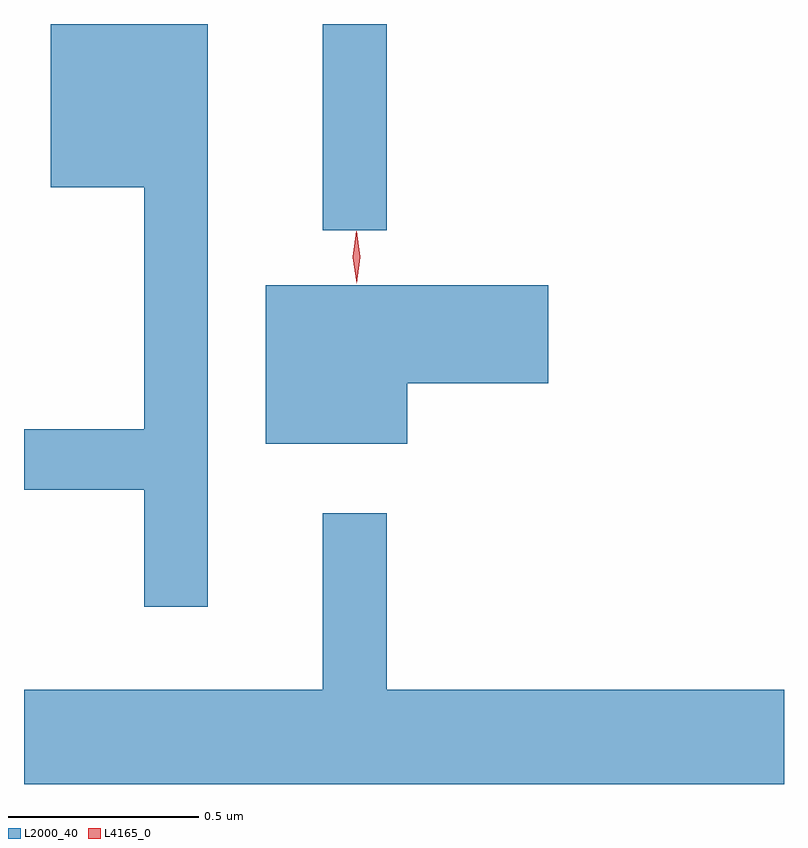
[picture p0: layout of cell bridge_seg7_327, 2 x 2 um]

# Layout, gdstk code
import gdstk
lib = gdstk.Library(unit=1e-6, precision=1e-09)
def R(c, l, rs):  # rectangles x0, y0, x1, y1
    for r in rs: c.add(gdstk.rectangle(r[:2], r[2:], *l))
def P(c, l, *ps):  # polygons
    for p in ps: c.add(gdstk.Polygon(p, *l))
L2000_40 = (2000, 40)
L4165_0 = (4165, 0)

bridge_seg7_327 = lib.new_cell('bridge_seg7_327')
R(bridge_seg7_327, L2000_40, [(1086.251,1749.093,1086.419,1749.636)])
P(bridge_seg7_327, L2000_40, [(1085.949,1749.636),(1085.536,1749.636),(1085.536,1749.206),(1085.781,1749.206),(1085.781,1748.569),(1085.465,1748.569),(1085.465,1748.411),(1085.781,1748.411),(1085.781,1748.103),(1085.949,1748.103)],
  [(1086.474,1748.691),(1086.844,1748.691),(1086.844,1748.949),(1086.101,1748.949),(1086.101,1748.531),(1086.474,1748.531)],
  [(1087.465,1747.884),(1086.419,1747.884),(1086.419,1748.348),(1086.251,1748.348),(1086.251,1747.884),(1085.465,1747.884),(1085.465,1747.636),(1087.465,1747.636)])
P(bridge_seg7_327, L4165_0, [(1086.341,1748.96),(1086.34,1748.961),(1086.33,1749.023),(1086.339,1749.086),(1086.34,1749.087),(1086.34,1749.086),(1086.35,1749.024),(1086.341,1748.961)],
  [(1086.34,1748.954),(1086.34,1748.954),(1086.33,1749.022),(1086.339,1749.09),(1086.34,1749.09),(1086.34,1749.09),(1086.35,1749.022),(1086.341,1748.954)])

lib.write_gds('bridge_seg7_327.gds')
